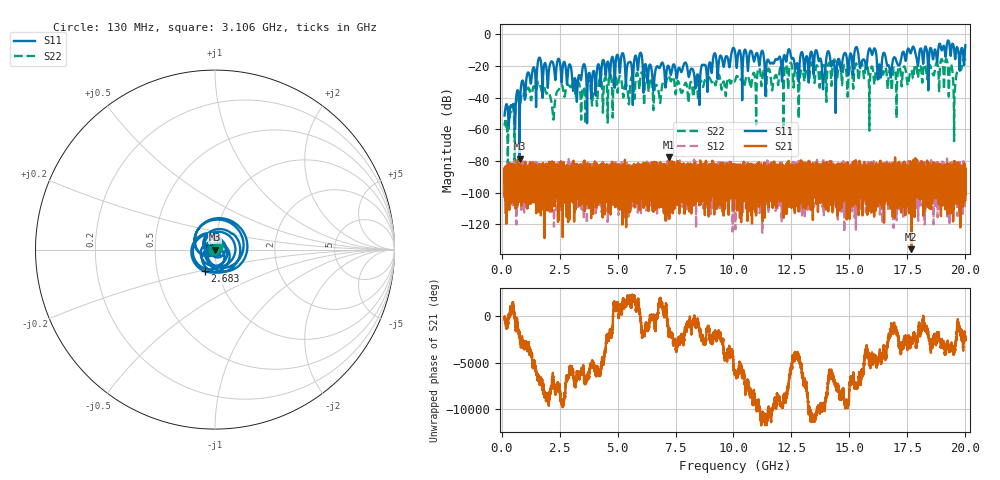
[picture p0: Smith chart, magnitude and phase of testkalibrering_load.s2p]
!Created with skrf (http://scikit-rf.org).
# GHz S RI R 50.0
!freq ReS11 ImS11 ReS21 ImS21 ReS12 ImS12 ReS22 ImS22
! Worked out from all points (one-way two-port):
!   20013 points, 130 MHz to 20 GHz, reference 50 ohm
!   highest |S21| = -77.34 dB at 7.222 GHz (marker M1); lowest = -135.7 dB at 17.67 GHz (marker M2)
!   lowest |S11| = -78.5 dB at 778 MHz (marker M3), VSWR 1.00, Z = 50 + j0.00904 ohm
!   |S11| at or under -10 dB: start of sweep to 9.94 GHz; 10.52 GHz to 12.36 GHz (1.839 GHz wide, 16.1 % of centre); 13.57 GHz to 15.23 GHz (1.664 GHz wide, 11.6 % of centre) (the widest 3 of 21)
!   |S22| runs from -101.5 to -15.0 dB; largest |S21 - S12| = 0.00016
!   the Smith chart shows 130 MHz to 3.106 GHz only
!   S11 on the Smith chart (normalised r, x): 130 MHz: 1.00, +0.00; 2.683 GHz: 0.87, -0.21; 3.106 GHz: 1.03, -0.05
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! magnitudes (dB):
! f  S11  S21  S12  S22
! 130 MHz  -51.3  -93.8  -102.3  -57.8
! 778 MHz  -78.5  -90.1  -95.6  -46.0
! 1.625 GHz  -14.6  -89.8  -87.8  -30.2
! 2.213 GHz  -17.8  -88.3  -95.2  -50.7
! 2.683 GHz  -17.5  -91.3  -86.7  -37.7
! 3.106 GHz  -31.7  -95.1  -84.7  -31.4
! 3.442 GHz  -27.2  -92.6  -91.6  -46.7
! 5.968 GHz  -11.8  -88.1  -91.0  -30.3
! 6.754 GHz  -20.6  -89.2  -92.5  -34.7
! 7.222 GHz  -20.7  -77.3  -93.4  -26.2
! 8.448 GHz  -25.2  -88.4  -88.0  -36.2
! 10.06 GHz  -10.8  -87.7  -84.2  -29.3
! 13.38 GHz  -11.4  -90.0  -95.7  -17.6
! 13.89 GHz  -28.0  -86.4  -91.8  -19.3
! 14.08 GHz  -10.5  -90.9  -84.5  -19.1
! 14.39 GHz  -29.7  -88.8  -90.4  -17.1
! 16.05 GHz  -9.2  -96.3  -83.6  -28.8
! 16.69 GHz  -19.5  -104.1  -83.0  -26.1
! 17.67 GHz  -10.6  -135.7  -87.8  -22.6
! 19.18 GHz  -9.1  -84.5  -85.9  -15.5
! 19.54 GHz  -13.1  -83.9  -89.9  -37.2
! 20 GHz  -6.8  -104.5  -91.3  -16.4
